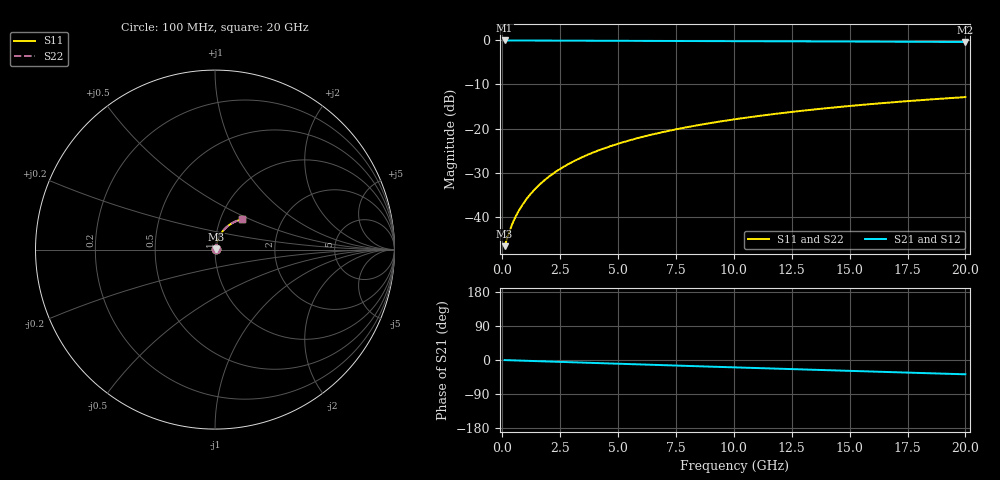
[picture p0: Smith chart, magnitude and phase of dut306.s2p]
! Touchstone file exported from HFSS 2026.1.0
!  File:  C:/ffzhzh/LocalFiles/Ansys_Project_Files/temp_train_BSMRDL_306_1783010567_46388.aedt
!  Generated:  12:44:03 AM Jul  3, 2026
!  Design:  BSMRDL
!  Project:  temp_train_BSMRDL_306_1783010567_46388
! Variables:
!  h_bsmrdl = 3.98um
!  h_ox = 20um
!  h_rdl = 5um
!  h_sub = 80um
!  h_tmrdl = 5um
!  h_tsv = 80um
!  h_via = 3um
!  l_bsmrdl = 638.85um
!  l_sub = 1038.85um
!  l_tmrdl = 200um
!  m_sub = 200um
!  pitch = 23um
!  r_tsv = 6um
!  s_tmrdl = 10um
!  w_bsmrdl = 13.44um
!  w_sub = 500um
!  w_tmrdl = 12um
!  x_tsv_center1 = 206um
!  x_tsv_center2 = 858.29um
!  x_tsv_center3 = 1070.29um
!  x_tsv_center4 = 1722.58um
!  x_tsv_center5 = 1934.58um
!  x_tsv_center6 = 2586.87um
# GHz S MA R 50.000000
! Terminal data exported
! Port[1] = BSM_RDL1_1_T1
! Port[2] = BSM_RDL1_1_T2
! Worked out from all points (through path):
!   200 points, 100 MHz to 20 GHz, reference 50 ohm
!   highest |S21| = -0.04 dB at 100 MHz (marker M1); lowest = -0.4 dB at 20 GHz (marker M2)
!   group delay of S21, straight-line fit = 5.23 ps
!   lowest |S11| = -46.7 dB at 100 MHz (marker M3), VSWR 1.01, Z = 50.4 + j0.166 ohm
!   |S11| at or under -10 dB: start of sweep to end of sweep
!   |S22| runs from -46.7 to -12.9 dB; largest |S21 - S12| = 2e-15
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0.1  0.004635 20.8  0.9957 -0.2  0.9957 -0.2  0.004635 20.8
! Gamma 0 0 0 0
! Port Impedance 50 0 50 0
0.3  0.006684 44.8  0.9953 -0.6  0.9953 -0.6  0.006684 44.8
0.4  0.00788 50.8  0.9951 -0.8  0.9951 -0.8  0.007881 50.8
0.6  0.01031 58.5  0.9948 -1.2  0.9948 -1.2  0.01031 58.5
0.7  0.01153 61.2  0.9947 -1.4  0.9947 -1.4  0.01153 61.2
0.9  0.01401 65.1  0.9945 -1.8  0.9945 -1.8  0.01401 65.1
1.1  0.01654 67.9  0.9943 -2.2  0.9943 -2.2  0.01654 67.9
1.3  0.0191 69.9  0.9941 -2.6  0.9941 -2.6  0.01911 69.9
1.7  0.02431 72.4  0.9938 -3.4  0.9938 -3.4  0.02431 72.4
2.2  0.03089 73.9  0.9933 -4.4  0.9933 -4.4  0.03089 73.9
2.8  0.03879 74.6  0.9927 -5.6  0.9927 -5.6  0.03879 74.6
3.5  0.04796 74.5  0.9917 -7.0  0.9917 -7.0  0.04796 74.4
4.2  0.05702 73.9  0.9907 -8.3  0.9907 -8.3  0.05702 73.9
5  0.06722 72.9  0.9893 -9.9  0.9893 -9.9  0.06722 72.9
5.9  0.07846 71.6  0.9877 -11.6  0.9877 -11.6  0.07847 71.6
6.8  0.08947 70.2  0.9859 -13.4  0.9859 -13.4  0.08948 70.2
8.3  0.1073 67.7  0.9829 -16.2  0.9829 -16.2  0.1073 67.7
10.1  0.1279 64.7  0.979 -19.6  0.979 -19.6  0.1279 64.7
11.7  0.1456 62.0  0.9755 -22.6  0.9755 -22.6  0.1456 62.0
13.4  0.1636 59.1  0.9717 -25.7  0.9717 -25.7  0.1636 59.1
16.7  0.1967 53.5  0.9641 -31.8  0.9641 -31.8  0.1968 53.5
20  0.2271 48.0  0.9563 -37.8  0.9563 -37.8  0.2271 47.9
